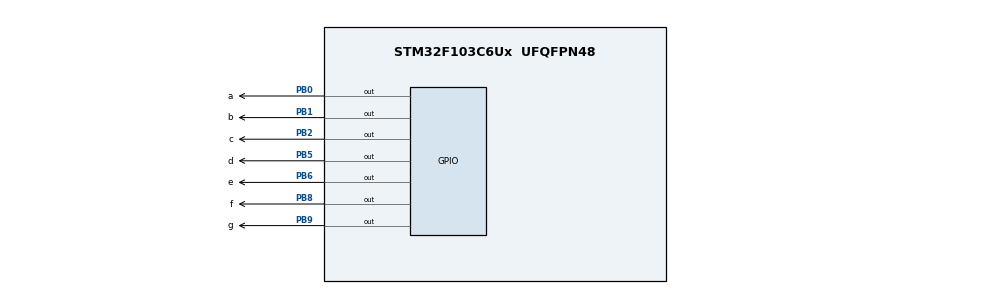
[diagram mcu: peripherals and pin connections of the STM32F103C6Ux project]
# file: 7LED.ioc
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Mcu.Family=STM32F1
Mcu.Name=STM32F103C6Ux
Mcu.Package=UFQFPN48
NVIC.PriorityGroup=NVIC_PRIORITYGROUP_4
PB0.GPIO_Label=a
PB0.Signal=GPIO_Output
PB1.GPIO_Label=b
PB1.Signal=GPIO_Output
PB2.GPIO_Label=c
PB2.Signal=GPIO_Output
PB5.GPIO_Label=d
PB5.Signal=GPIO_Output
PB6.GPIO_Label=e
PB6.Signal=GPIO_Output
PB8.GPIO_Label=f
PB8.Signal=GPIO_Output
PB9.GPIO_Label=g
PB9.Signal=GPIO_Output
ProjectManager.HeapSize=0x200
ProjectManager.StackSize=0x400
ProjectManager.TargetToolchain=STM32CubeIDE
RCC.APB1Freq_Value=8000000
RCC.APB2Freq_Value=8000000
VP_SYS_VS_ND.Mode=No_Debug
board=custom

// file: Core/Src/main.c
/* USER CODE BEGIN Header */
/**
  ******************************************************************************
  * @file           : main.c
  * @brief          : Main program body
  ******************************************************************************
  * @attention
  *
  * <h2><center>&copy; Copyright (c) 2022 STMicroelectronics.
  * All rights reserved.</center></h2>
  *
  * This software component is licensed by ST under BSD 3-Clause license,
  * the "License"; You may not use this file except in compliance with the
  * License. You may obtain a copy of the License at:
  *                        opensource.org/licenses/BSD-3-Clause
  *
  ******************************************************************************
  */
/* USER CODE END Header */
#include "main.h"

void SystemClock_Config(void);
static void MX_GPIO_Init(void);

int main(void)
{

  /* MCU Configuration--------------------------------------------------------*/

  /* Reset of all peripherals, Initializes the Flash interface and the Systick. */
  HAL_Init();

  /* Configure the system clock */
  SystemClock_Config();

  /* Initialize all configured peripherals */
  MX_GPIO_Init();

  /* Infinite loop */
  /* USER CODE BEGIN WHILE */
void display7SEG(int num){
	if(num == 0){
		HAL_GPIO_WritePin(a_GPIO_Port, a_Pin, RESET);
		HAL_GPIO_WritePin(b_GPIO_Port, b_Pin, RESET);
		HAL_GPIO_WritePin(c_GPIO_Port, c_Pin, RESET);
		HAL_GPIO_WritePin(d_GPIO_Port, d_Pin, RESET);
		HAL_GPIO_WritePin(e_GPIO_Port, e_Pin, RESET);
		HAL_GPIO_WritePin(f_GPIO_Port, f_Pin, RESET);
		HAL_GPIO_WritePin(g_GPIO_Port, g_Pin, SET);
	}
	else if(num == 1){
		HAL_GPIO_WritePin(a_GPIO_Port, a_Pin, SET);
		HAL_GPIO_WritePin(b_GPIO_Port, b_Pin, RESET);
		HAL_GPIO_WritePin(c_GPIO_Port, c_Pin, RESET);
		HAL_GPIO_WritePin(d_GPIO_Port, d_Pin, SET);
		HAL_GPIO_WritePin(e_GPIO_Port, e_Pin, SET);
		HAL_GPIO_WritePin(f_GPIO_Port, f_Pin, SET);
		HAL_GPIO_WritePin(g_GPIO_Port, g_Pin, SET);
	}
	else if(num == 2){
		HAL_GPIO_WritePin(a_GPIO_Port, a_Pin, RESET);
		HAL_GPIO_WritePin(b_GPIO_Port, b_Pin, RESET);
		HAL_GPIO_WritePin(c_GPIO_Port, c_Pin, SET);
		HAL_GPIO_WritePin(d_GPIO_Port, d_Pin, RESET);
		HAL_GPIO_WritePin(e_GPIO_Port, e_Pin, RESET);
		HAL_GPIO_WritePin(f_GPIO_Port, f_Pin, SET);
		HAL_GPIO_WritePin(g_GPIO_Port, g_Pin, RESET);
	}
	else if(num == 3){
		HAL_GPIO_WritePin(a_GPIO_Port, a_Pin, RESET);
		HAL_GPIO_WritePin(b_GPIO_Port, b_Pin, RESET);
		HAL_GPIO_WritePin(c_GPIO_Port, c_Pin, RESET);
		HAL_GPIO_WritePin(d_GPIO_Port, d_Pin, RESET);
		HAL_GPIO_WritePin(e_GPIO_Port, e_Pin, SET);
		HAL_GPIO_WritePin(f_GPIO_Port, f_Pin, SET);
		HAL_GPIO_WritePin(g_GPIO_Port, g_Pin, RESET);
	}
	else if(num == 4){
		HAL_GPIO_WritePin(a_GPIO_Port, a_Pin, SET);
		HAL_GPIO_WritePin(b_GPIO_Port, b_Pin, RESET);
		HAL_GPIO_WritePin(c_GPIO_Port, c_Pin, RESET);
		HAL_GPIO_WritePin(d_GPIO_Port, d_Pin, SET);
		HAL_GPIO_WritePin(e_GPIO_Port, e_Pin, SET);
		HAL_GPIO_WritePin(f_GPIO_Port, f_Pin, RESET);
		HAL_GPIO_WritePin(g_GPIO_Port, g_Pin, RESET);
	}
	else if(num == 5){
		HAL_GPIO_WritePin(a_GPIO_Port, a_Pin, RESET);
		HAL_GPIO_WritePin(b_GPIO_Port, b_Pin, SET);
		HAL_GPIO_WritePin(c_GPIO_Port, c_Pin, RESET);
		HAL_GPIO_WritePin(d_GPIO_Port, d_Pin, RESET);
		HAL_GPIO_WritePin(e_GPIO_Port, e_Pin, SET);
		HAL_GPIO_WritePin(f_GPIO_Port, f_Pin, RESET);
		HAL_GPIO_WritePin(g_GPIO_Port, g_Pin, RESET);
	}
	else if(num == 6){
		HAL_GPIO_WritePin(a_GPIO_Port, a_Pin, RESET);
		HAL_GPIO_WritePin(b_GPIO_Port, b_Pin, SET);
		HAL_GPIO_WritePin(c_GPIO_Port, c_Pin, RESET);
		HAL_GPIO_WritePin(d_GPIO_Port, d_Pin, RESET);
		HAL_GPIO_WritePin(e_GPIO_Port, e_Pin, RESET);
		HAL_GPIO_WritePin(f_GPIO_Port, f_Pin, RESET);
		HAL_GPIO_WritePin(g_GPIO_Port, g_Pin, RESET);
	}
	else if(num == 7){
		HAL_GPIO_WritePin(a_GPIO_Port, a_Pin, RESET);
		HAL_GPIO_WritePin(b_GPIO_Port, b_Pin, RESET);
		HAL_GPIO_WritePin(c_GPIO_Port, c_Pin, RESET);
		HAL_GPIO_WritePin(d_GPIO_Port, d_Pin, SET);
		HAL_GPIO_WritePin(e_GPIO_Port, e_Pin, SET);
		HAL_GPIO_WritePin(f_GPIO_Port, f_Pin, SET);
		HAL_GPIO_WritePin(g_GPIO_Port, g_Pin, SET);
	}
	else if(num == 8){
		HAL_GPIO_WritePin(a_GPIO_Port, a_Pin, RESET);
		HAL_GPIO_WritePin(b_GPIO_Port, b_Pin, RESET);
		HAL_GPIO_WritePin(c_GPIO_Port, c_Pin, RESET);
		HAL_GPIO_WritePin(d_GPIO_Port, d_Pin, RESET);
		HAL_GPIO_WritePin(e_GPIO_Port, e_Pin, RESET);
		HAL_GPIO_WritePin(f_GPIO_Port, f_Pin, RESET);
		HAL_GPIO_WritePin(g_GPIO_Port, g_Pin, RESET);
	}
	else if(num == 9){
		HAL_GPIO_WritePin(a_GPIO_Port, a_Pin, RESET);
		HAL_GPIO_WritePin(b_GPIO_Port, b_Pin, RESET);
		HAL_GPIO_WritePin(c_GPIO_Port, c_Pin, RESET);
		HAL_GPIO_WritePin(d_GPIO_Port, d_Pin, RESET);
		HAL_GPIO_WritePin(e_GPIO_Port, e_Pin, SET);
		HAL_GPIO_WritePin(f_GPIO_Port, f_Pin, RESET);
		HAL_GPIO_WritePin(g_GPIO_Port, g_Pin, RESET);
	}
}
int counter = 0;

  while (1)
  {
	  if( counter >= 10) counter = 0;
	  display7SEG ( counter ++) ;
	  HAL_Delay (1000) ;
    /* USER CODE END WHILE */

  }
}

void SystemClock_Config(void)
{
  RCC_OscInitTypeDef RCC_OscInitStruct = {0};
  RCC_ClkInitTypeDef RCC_ClkInitStruct = {0};

  /** Initializes the RCC Oscillators according to the specified parameters
  * in the RCC_OscInitTypeDef structure.
  */
  RCC_OscInitStruct.OscillatorType = RCC_OSCILLATORTYPE_HSI;
  RCC_OscInitStruct.HSIState = RCC_HSI_ON;
  RCC_OscInitStruct.HSICalibrationValue = RCC_HSICALIBRATION_DEFAULT;
  RCC_OscInitStruct.PLL.PLLState = RCC_PLL_NONE;
  if (HAL_RCC_OscConfig(&RCC_OscInitStruct) != HAL_OK)
  {
    Error_Handler();
  }
  /** Initializes the CPU, AHB and APB buses clocks
  */
  RCC_ClkInitStruct.ClockType = RCC_CLOCKTYPE_HCLK|RCC_CLOCKTYPE_SYSCLK
                              |RCC_CLOCKTYPE_PCLK1|RCC_CLOCKTYPE_PCLK2;
  RCC_ClkInitStruct.SYSCLKSource = RCC_SYSCLKSOURCE_HSI;
  RCC_ClkInitStruct.AHBCLKDivider = RCC_SYSCLK_DIV1;
  RCC_ClkInitStruct.APB1CLKDivider = RCC_HCLK_DIV1;
  RCC_ClkInitStruct.APB2CLKDivider = RCC_HCLK_DIV1;

  if (HAL_RCC_ClockConfig(&RCC_ClkInitStruct, FLASH_LATENCY_0) != HAL_OK)
  {
    Error_Handler();
  }
}

static void MX_GPIO_Init(void)
{
  GPIO_InitTypeDef GPIO_InitStruct = {0};

  /* GPIO Ports Clock Enable */
  __HAL_RCC_GPIOB_CLK_ENABLE();

  /*Configure GPIO pin Output Level */
  HAL_GPIO_WritePin(GPIOB, a_Pin|b_Pin|c_Pin|d_Pin
                          |e_Pin|f_Pin|g_Pin, GPIO_PIN_RESET);

  /*Configure GPIO pins : a_Pin b_Pin c_Pin d_Pin
                           e_Pin f_Pin g_Pin */
  GPIO_InitStruct.Pin = a_Pin|b_Pin|c_Pin|d_Pin
                          |e_Pin|f_Pin|g_Pin;
  GPIO_InitStruct.Mode = GPIO_MODE_OUTPUT_PP;
  GPIO_InitStruct.Pull = GPIO_NOPULL;
  GPIO_InitStruct.Speed = GPIO_SPEED_FREQ_LOW;
  HAL_GPIO_Init(GPIOB, &GPIO_InitStruct);

}

void Error_Handler(void)
{
  __disable_irq();
  while (1)
  {
  }
}

/************************ (C) COPYRIGHT STMicroelectronics *****END OF FILE****/
